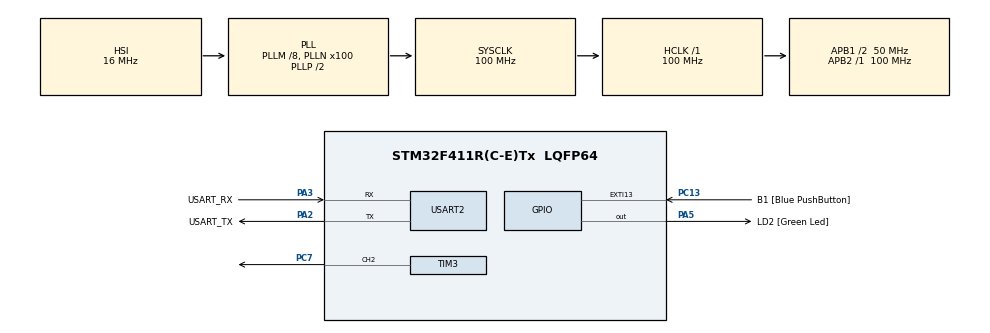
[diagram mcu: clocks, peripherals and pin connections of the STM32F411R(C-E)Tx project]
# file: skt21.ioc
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Mcu.Family=STM32F4
Mcu.Name=STM32F411R(C-E)Tx
Mcu.Package=LQFP64
NVIC.PriorityGroup=NVIC_PRIORITYGROUP_0
NVIC.TIM3_IRQn=true\:0\:0\:false\:false\:true\:true\:true\:true
PA13.GPIO_Label=TMS
PA13.Mode=Serial_Wire
PA13.Signal=SYS_JTMS-SWDIO
PA14.GPIO_Label=TCK
PA14.Mode=Serial_Wire
PA14.Signal=SYS_JTCK-SWCLK
PA2.GPIO_Label=USART_TX
PA2.Mode=Asynchronous
PA2.Signal=USART2_TX
PA3.GPIO_Label=USART_RX
PA3.Mode=Asynchronous
PA3.Signal=USART2_RX
PA5.GPIO_Label=LD2 [Green Led]
PA5.Signal=GPIO_Output
PB3.GPIO_Label=SWO
PB3.Signal=SYS_JTDO-SWO
PC13-ANTI_TAMP.GPIO_Label=B1 [Blue PushButton]
PC13-ANTI_TAMP.GPIO_ModeDefaultEXTI=GPIO_MODE_IT_FALLING
PC13-ANTI_TAMP.Signal=GPXTI13
PC14-OSC32_IN.Mode=LSE-External-Oscillator
PC14-OSC32_IN.Signal=RCC_OSC32_IN
PC15-OSC32_OUT.Mode=LSE-External-Oscillator
PC15-OSC32_OUT.Signal=RCC_OSC32_OUT
PC7.Signal=S_TIM3_CH2
PH0\ -\ OSC_IN.Mode=HSE-External-Clock-Source
PH0\ -\ OSC_IN.Signal=RCC_OSC_IN
PH1\ -\ OSC_OUT.Mode=HSE-External-Clock-Source
PH1\ -\ OSC_OUT.Signal=RCC_OSC_OUT
ProjectManager.HeapSize=0x200
ProjectManager.StackSize=0x400
ProjectManager.TargetToolchain=STM32CubeIDE
RCC.48MHZClocksFreq_Value=50000000
RCC.AHBFreq_Value=100000000
RCC.APB1CLKDivider=RCC_HCLK_DIV2
RCC.APB1Freq_Value=50000000
RCC.APB1TimFreq_Value=100000000
RCC.APB2Freq_Value=100000000
RCC.APB2TimFreq_Value=100000000
RCC.CortexFreq_Value=100000000
RCC.FLatency-AdvancedSettings=FLASH_LATENCY_3
RCC.HCLKFreq_Value=100000000
RCC.HSE_VALUE=8000000
RCC.HSI_VALUE=16000000
RCC.PLLM=8
RCC.PLLN=100
RCC.SYSCLKFreq_VALUE=100000000
RCC.SYSCLKSource=RCC_SYSCLKSOURCE_PLLCLK
RCC.VCOOutputFreq_Value=200000000
SH.S_TIM3_CH2.0=TIM3_CH2,PWM Generation2 CH2
TIM3.AutoReloadPreload=TIM_AUTORELOAD_PRELOAD_ENABLE
TIM3.Channel-PWM\ Generation2\ CH2=TIM_CHANNEL_2
TIM3.Period=4999
TIM3.Prescaler=999
USART2.VirtualMode=VM_ASYNC
board=NUCLEO-F411RE

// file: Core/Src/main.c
/* USER CODE BEGIN Header */
/**
 ******************************************************************************
 * @file           : main.c
 * @brief          : Main program body
 ******************************************************************************
 * @attention
 *
 * Copyright (c) 2024 STMicroelectronics.
 * All rights reserved.
 *
 * This software is licensed under terms that can be found in the LICENSE file
 * in the root directory of this software component.
 * If no LICENSE file comes with this software, it is provided AS-IS.
 *
 ******************************************************************************
 */
/* USER CODE END Header */
#include "main.h"

TIM_HandleTypeDef htim3;

UART_HandleTypeDef huart2;

void SystemClock_Config(void);
static void MX_GPIO_Init(void);
static void MX_USART2_UART_Init(void);
static void MX_TIM3_Init(void);

/* USER CODE BEGIN 0 */
void HAL_TIM_PeriodElapsedCallback(TIM_HandleTypeDef *htim) {
	if (htim->Instance == htim3.Instance) {
		HAL_GPIO_TogglePin(GPIOA, GPIO_PIN_5);
	}
}
/* USER CODE END 0 */

int main(void) {

	/* MCU Configuration--------------------------------------------------------*/

	/* Reset of all peripherals, Initializes the Flash interface and the Systick. */
	HAL_Init();

	/* Configure the system clock */
	SystemClock_Config();

	/* Initialize all configured peripherals */
	MX_GPIO_Init();
	MX_USART2_UART_Init();
	MX_TIM3_Init();
	/* USER CODE BEGIN 2 */
	HAL_TIM_Base_Start_IT(&htim3);

	char arr[32];
	char ch;
	int size = 0;
	int idx = 32;
	/* USER CODE END 2 */

	/* Infinite loop */
	/* USER CODE BEGIN WHILE */
	while (1) {

		if (HAL_UART_Receive(&huart2, &ch, 1, 100) == HAL_OK) {
			if (ch == '\r' || ch == '\n') {
				HAL_UART_Transmit(&huart2, "\r\n", 2, 100);
				HAL_UART_Transmit(&huart2, arr + idx, size, 100);
				size = 0;
				idx = 32;
				HAL_UART_Transmit(&huart2, "\r\n", 2, 100);
			} else {
				idx--;
				size++;
				arr[idx] = ch;
				HAL_UART_Transmit(&huart2, &ch, 1, 100);
			}
		}

		/* USER CODE END WHILE */

	}
}

void SystemClock_Config(void) {
	RCC_OscInitTypeDef RCC_OscInitStruct = { 0 };
	RCC_ClkInitTypeDef RCC_ClkInitStruct = { 0 };

	/** Configure the main internal regulator output voltage
	 */
	__HAL_RCC_PWR_CLK_ENABLE();
	__HAL_PWR_VOLTAGESCALING_CONFIG(PWR_REGULATOR_VOLTAGE_SCALE1);

	/** Initializes the RCC Oscillators according to the specified parameters
	 * in the RCC_OscInitTypeDef structure.
	 */
	RCC_OscInitStruct.OscillatorType = RCC_OSCILLATORTYPE_HSI;
	RCC_OscInitStruct.HSIState = RCC_HSI_ON;
	RCC_OscInitStruct.HSICalibrationValue = RCC_HSICALIBRATION_DEFAULT;
	RCC_OscInitStruct.PLL.PLLState = RCC_PLL_ON;
	RCC_OscInitStruct.PLL.PLLSource = RCC_PLLSOURCE_HSI;
	RCC_OscInitStruct.PLL.PLLM = 8;
	RCC_OscInitStruct.PLL.PLLN = 100;
	RCC_OscInitStruct.PLL.PLLP = RCC_PLLP_DIV2;
	RCC_OscInitStruct.PLL.PLLQ = 4;
	if (HAL_RCC_OscConfig(&RCC_OscInitStruct) != HAL_OK) {
		Error_Handler();
	}

	/** Initializes the CPU, AHB and APB buses clocks
	 */
	RCC_ClkInitStruct.ClockType = RCC_CLOCKTYPE_HCLK | RCC_CLOCKTYPE_SYSCLK
			| RCC_CLOCKTYPE_PCLK1 | RCC_CLOCKTYPE_PCLK2;
	RCC_ClkInitStruct.SYSCLKSource = RCC_SYSCLKSOURCE_PLLCLK;
	RCC_ClkInitStruct.AHBCLKDivider = RCC_SYSCLK_DIV1;
	RCC_ClkInitStruct.APB1CLKDivider = RCC_HCLK_DIV2;
	RCC_ClkInitStruct.APB2CLKDivider = RCC_HCLK_DIV1;

	if (HAL_RCC_ClockConfig(&RCC_ClkInitStruct, FLASH_LATENCY_3) != HAL_OK) {
		Error_Handler();
	}
}

static void MX_TIM3_Init(void) {

	TIM_MasterConfigTypeDef sMasterConfig = { 0 };
	TIM_OC_InitTypeDef sConfigOC = { 0 };

	htim3.Instance = TIM3;
	htim3.Init.Prescaler = 999;
	htim3.Init.CounterMode = TIM_COUNTERMODE_UP;
	htim3.Init.Period = 4999;
	htim3.Init.ClockDivision = TIM_CLOCKDIVISION_DIV1;
	htim3.Init.AutoReloadPreload = TIM_AUTORELOAD_PRELOAD_ENABLE;
	if (HAL_TIM_PWM_Init(&htim3) != HAL_OK) {
		Error_Handler();
	}
	sMasterConfig.MasterOutputTrigger = TIM_TRGO_RESET;
	sMasterConfig.MasterSlaveMode = TIM_MASTERSLAVEMODE_DISABLE;
	if (HAL_TIMEx_MasterConfigSynchronization(&htim3, &sMasterConfig)
			!= HAL_OK) {
		Error_Handler();
	}
	sConfigOC.OCMode = TIM_OCMODE_PWM1;
	sConfigOC.Pulse = 0;
	sConfigOC.OCPolarity = TIM_OCPOLARITY_HIGH;
	sConfigOC.OCFastMode = TIM_OCFAST_DISABLE;
	if (HAL_TIM_PWM_ConfigChannel(&htim3, &sConfigOC, TIM_CHANNEL_2)
			!= HAL_OK) {
		Error_Handler();
	}
	HAL_TIM_MspPostInit(&htim3);

}

static void MX_USART2_UART_Init(void) {

	huart2.Instance = USART2;
	huart2.Init.BaudRate = 115200;
	huart2.Init.WordLength = UART_WORDLENGTH_8B;
	huart2.Init.StopBits = UART_STOPBITS_1;
	huart2.Init.Parity = UART_PARITY_NONE;
	huart2.Init.Mode = UART_MODE_TX_RX;
	huart2.Init.HwFlowCtl = UART_HWCONTROL_NONE;
	huart2.Init.OverSampling = UART_OVERSAMPLING_16;
	if (HAL_UART_Init(&huart2) != HAL_OK) {
		Error_Handler();
	}

}

static void MX_GPIO_Init(void) {
	GPIO_InitTypeDef GPIO_InitStruct = { 0 };

	/* GPIO Ports Clock Enable */
	__HAL_RCC_GPIOC_CLK_ENABLE();
	__HAL_RCC_GPIOH_CLK_ENABLE();
	__HAL_RCC_GPIOA_CLK_ENABLE();
	__HAL_RCC_GPIOB_CLK_ENABLE();

	/*Configure GPIO pin Output Level */
	HAL_GPIO_WritePin(LD2_GPIO_Port, LD2_Pin, GPIO_PIN_RESET);

	/*Configure GPIO pin : B1_Pin */
	GPIO_InitStruct.Pin = B1_Pin;
	GPIO_InitStruct.Mode = GPIO_MODE_IT_FALLING;
	GPIO_InitStruct.Pull = GPIO_NOPULL;
	HAL_GPIO_Init(B1_GPIO_Port, &GPIO_InitStruct);

	/*Configure GPIO pin : LD2_Pin */
	GPIO_InitStruct.Pin = LD2_Pin;
	GPIO_InitStruct.Mode = GPIO_MODE_OUTPUT_PP;
	GPIO_InitStruct.Pull = GPIO_NOPULL;
	GPIO_InitStruct.Speed = GPIO_SPEED_FREQ_LOW;
	HAL_GPIO_Init(LD2_GPIO_Port, &GPIO_InitStruct);

}

void Error_Handler(void) {
	__disable_irq();
	while (1) {
	}
}
